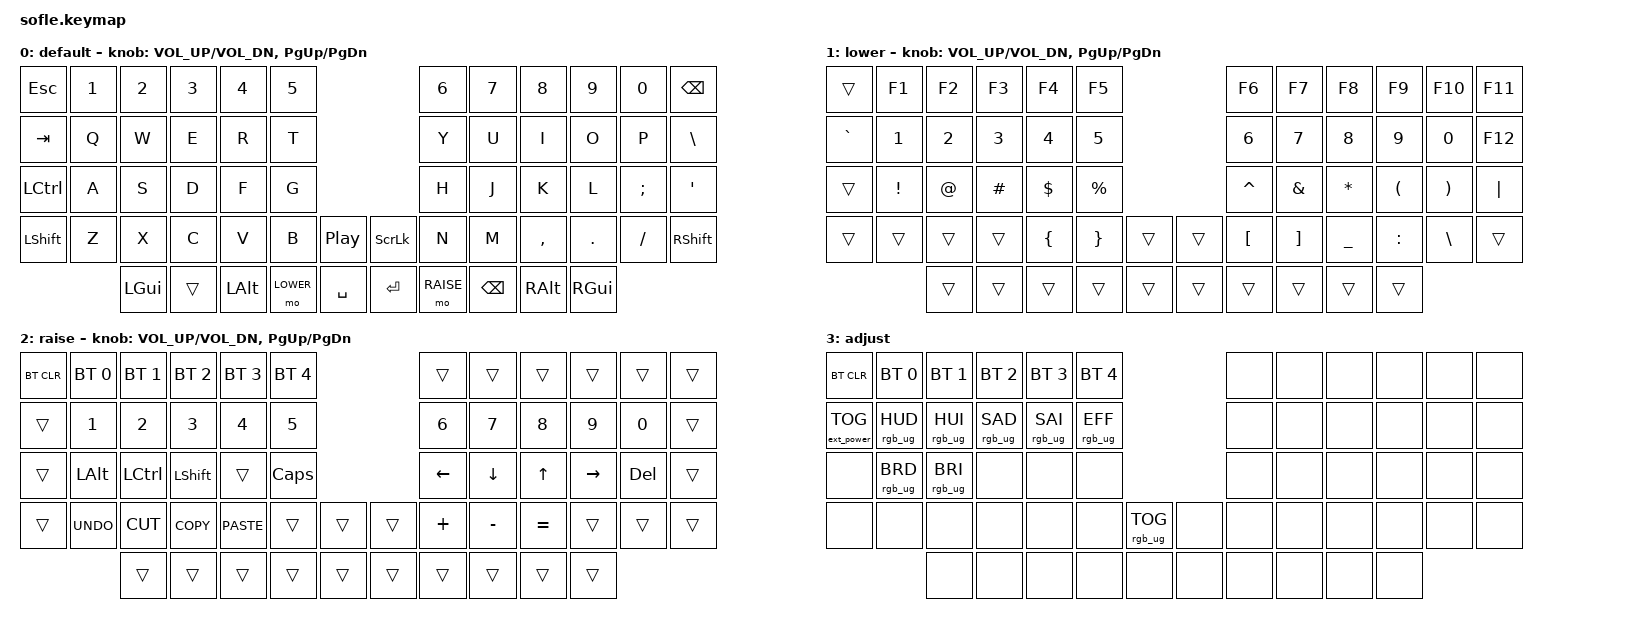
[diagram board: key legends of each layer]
/*
 * Copyright (c) 2020 The ZMK Contributors
 *
 * SPDX-License-Identifier: MIT
 */

#include <behaviors.dtsi>
#include <dt-bindings/zmk/keys.h>
#include <dt-bindings/zmk/bt.h>
#include <dt-bindings/zmk/rgb.h>
#include <dt-bindings/zmk/ext_power.h>

#define BASE 0
#define LOWER 1
#define RAISE 2
#define ADJUST 3

/ {

   // Activate ADJUST layer by pressing raise and lower
    conditional_layers {
        compatible = "zmk,conditional-layers";
        adjust_layer {
            if-layers = <LOWER RAISE>;
            then-layer = <ADJUST>;
        };
    };

    keymap {
        compatible = "zmk,keymap";

        default_layer {
            display-name = "default";
// ------------------------------------------------------------------------------------------------------------
// |  ESC  |  1  |  2  |  3   |  4   |  5   |                   |  6   |  7    |  8    |  9   |   0   | BKSPC |
// |  TAB  |  Q  |  W  |  E   |  R   |  T   |                   |  Y   |  U    |  I    |  O   |   P   |   \   |
// |  CTRL |  A  |  S  |  D   |  F   |  G   |                   |  H   |  J    |  K    |  L   |   ;   |   '   |
// | SHIFT |  Z  |  X  |  C   |  V   |  B   |  Pause |  | SLCK  |  N   |  M    |  ,    |  .   |   /   | SHIFT |
//               | GUI |      |  ALT | LOWER|  ENTER |  | SPACE | RAISE|  DEL  | ALT   | GUI  |
            bindings = <
&kp ESC   &kp N1 &kp N2   &kp N3   &kp N4    &kp N5                             &kp N6 &kp N7    &kp N8    &kp N9   &kp N0   &kp BSPC
&kp TAB   &kp Q  &kp W    &kp E    &kp R     &kp T                              &kp Y  &kp U     &kp I     &kp O    &kp P    &kp BSLH
&kp LCTRL &kp A  &kp S    &kp D    &kp F     &kp G                              &kp H  &kp J     &kp K     &kp L    &kp SEMI &kp SQT
&kp LSHFT &kp Z  &kp X    &kp C    &kp V     &kp B     &kp C_PP       &kp SLCK     &kp N  &kp M     &kp COMMA &kp DOT  &kp FSLH &kp RSHFT
                 &kp LGUI &trans   &kp LALT &mo LOWER  &kp SPACE      &kp RET  &mo RAISE  &kp BSPC &kp RALT  &kp RGUI
            >;

            sensor-bindings = <&inc_dec_kp C_VOL_UP C_VOL_DN &inc_dec_kp PG_UP PG_DN>;
        };

        lower_layer {
            display-name = "lower";
// TODO: Some binds are waiting for shifted keycode support.
// ------------------------------------------------------------------------------------------------------------
// |       |  F1 |  F2 |  F3  |  F4  |  F5  |                   |  F6  |  F7   |  F8   |  F9  |  F10  |  F11  |
// |   `   |  1  |  2  |  3   |  4   |  5   |                   |  6   |  7    |  8    |  9   |   0   |  F12  |
// |       |  !  |  @  |  #   |  $   |  %   |                   |  ^   |  &    |  *    |  (   |   )   |   |   |
// |       |  =  |  -  |  +   |  {   |  }   |        |  |       |  [   |  ]    |   _   |  :   |   \   |       |
//               |     |      |      |      |        |  |       |      |       |       |      |
            bindings = <
&trans    &kp F1    &kp F2    &kp F3      &kp F4    &kp F5                    &kp F6    &kp F7   &kp F8    &kp F9    &kp F10   &kp F11
&kp GRAVE &kp N1    &kp N2    &kp N3      &kp N4    &kp N5                    &kp N6    &kp N7   &kp N8    &kp N9    &kp N0    &kp F12
&trans    &kp EXCL  &kp AT    &kp HASH    &kp DLLR  &kp PRCNT                 &kp CARET &kp AMPS &kp ASTRK &kp LPAR  &kp RPAR  &kp PIPE
&trans    &trans    &trans    &trans      &kp LBRC  &kp RBRC   &trans   &trans  &kp LBKT  &kp RBKT &kp UNDERSCORE &kp COLON &kp BSLH  &trans
                    &trans    &trans      &trans    &trans     &trans   &trans  &trans    &trans   &trans    &trans
            >;

            sensor-bindings = <&inc_dec_kp C_VOL_UP C_VOL_DN &inc_dec_kp PG_UP PG_DN>;
        };

        raise_layer {
            display-name = "raise";
// ------------------------------------------------------------------------------------------------------------
// | BTCLR | BT1  | BT2  |  BT3  |  BT4  |  BT5 |                |      |      |       |      |       |       |
// |       |  1   |  2   |   3   |   4   |   5  |                |  6   |  7   |   8   |   9  |   0   |       |
// |       | ALT  | CTRL | SHIFT |       | CAPS |                |  <-  |  v   |   ^   |  ->  |  DEL  |       |
// |       | UNDO | CUT  | COPY  | PASTE |      |      |  |      |  +   |  -   |   =   |   _  |       |       |
//                |      |       |       |      |      |  |      |      |      |       |      |
            bindings = <
&bt BT_CLR &bt BT_SEL 0 &bt BT_SEL 1 &bt BT_SEL 2 &bt BT_SEL 3 &bt BT_SEL 4                  &trans    &trans    &trans   &trans    &trans  &trans
&trans     &kp N1       &kp N2       &kp N3       &kp N4       &kp N5                        &kp N6    &kp N7    &kp N8   &kp N9    &kp N0  &trans
&trans     &kp LALT     &kp LCTRL    &kp LSHFT    &trans       &kp CLCK                      &kp LEFT  &kp DOWN  &kp UP   &kp RIGHT &kp DEL &trans
&trans     &kp K_UNDO   &kp K_CUT    &kp K_COPY   &kp K_PASTE  &trans  &trans        &trans  &kp PLUS  &kp MINUS &kp EQUAL &trans   &trans  &trans
                        &trans       &trans       &trans       &trans  &trans        &trans  &trans    &trans    &trans   &trans
            >;

            sensor-bindings = <&inc_dec_kp C_VOL_UP C_VOL_DN &inc_dec_kp PG_UP PG_DN>;
        };

        adjust_layer {
// ----------------------------------------------------------------------------------------------------------------------------
// | BTCLR  |  BT1    |  BT2    |   BT3   |   BT4   |   BT5   |                  |      |      |       |      |       |       |
// | EXTPWR | RGB_HUD | RGB_HUI | RGB_SAD | RGB_SAI | RGB_EFF |                  |      |      |       |      |       |       |
// |        | RGB_BRD | RGB_BRI |         |         |         |                  |      |      |       |      |       |       |
// |        |         |         |         |         |         | RGB_TOG | |      |      |      |       |      |       |       |
//                    |         |         |         |         |         | |      |      |      |       |      |
            display-name = "adjust";
            bindings = <
&bt BT_CLR        &bt BT_SEL 0    &bt BT_SEL 1    &bt BT_SEL 2    &bt BT_SEL 3    &bt BT_SEL 4                            &none &none &none &none &none &none
&ext_power EP_TOG &rgb_ug RGB_HUD &rgb_ug RGB_HUI &rgb_ug RGB_SAD &rgb_ug RGB_SAI &rgb_ug RGB_EFF                         &none &none &none &none &none &none
&none             &rgb_ug RGB_BRD &rgb_ug RGB_BRI &none           &none           &none                                   &none &none &none &none &none &none
&none             &none           &none           &none           &none           &none            &rgb_ug RGB_TOG &none  &none &none &none &none &none &none
                                  &none           &none           &none           &none            &none           &none  &none &none &none &none
            >;
        };

    };
};
